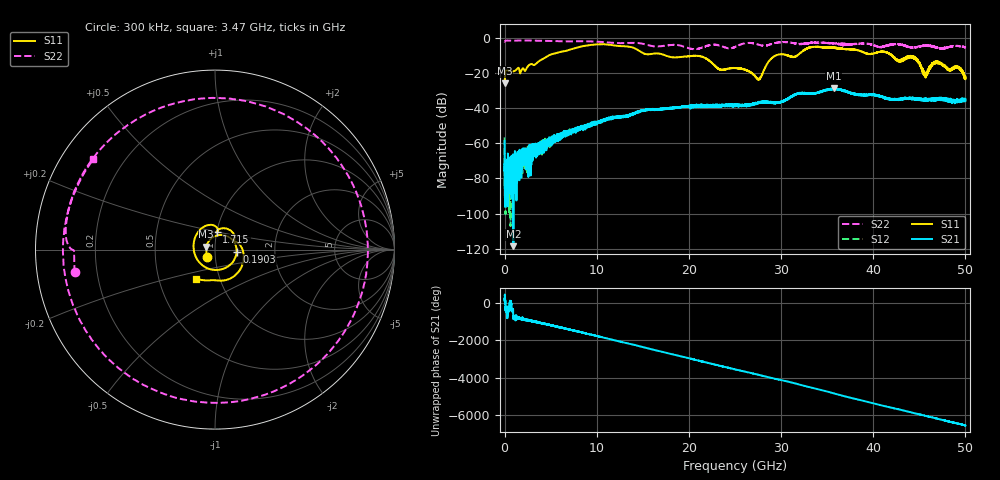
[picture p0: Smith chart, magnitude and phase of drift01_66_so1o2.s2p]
!Created with skrf (http://scikit-rf.org).
# Hz S RI R 50.0
!freq ReS11 ImS11 ReS21 ImS21 ReS12 ImS12 ReS22 ImS22
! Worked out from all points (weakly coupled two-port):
!   10001 points, 300 kHz to 50 GHz, reference 50 ohm
!   highest |S21| = -28.65 dB at 35.74 GHz (marker M1); lowest = -118.6 dB at 950.3 MHz (marker M2)
!   lowest |S11| = -25.8 dB at 5.3 MHz (marker M3), VSWR 1.11, Z = 45.3 + j1.43 ohm
!   |S11| at or under -10 dB: start of sweep to 4.767 GHz; 17.52 GHz to 29.39 GHz (11.87 GHz wide, 50.6 % of centre); 42.05 GHz to end of sweep (the widest 3 of 7)
!   |S22| runs from -6.4 to -1.4 dB; largest |S21 - S12| = 0.0042
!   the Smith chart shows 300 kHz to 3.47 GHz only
!   S11 on the Smith chart (normalised r, x): 300 kHz: 0.91, -0.07; 190.3 MHz: 1.27, -0.03; 1.715 GHz: 1.00, +0.20; 3.47 GHz: 0.77, -0.26
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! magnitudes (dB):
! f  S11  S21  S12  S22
! 300 kHz  -24.2  -58.7  -56.5  -2.0
! 5.3 MHz  -25.8  -76.0  -73.1  -2.1
! 190.3 MHz  -18.3  -80.0  -85.4  -1.4
! 950.3 MHz  -19.0  -118.6  -74.8  -1.5
! 1.715 GHz  -19.9  -69.4  -73.0  -1.4
! 3.47 GHz  -14.3  -64.2  -64.2  -1.5
! 8.335 GHz  -4.8  -51.1  -50.6  -1.8
! 16.67 GHz  -8.8  -40.6  -40.8  -4.8
! 21.2 GHz  -10.3  -38.6  -38.7  -5.8
! 23.38 GHz  -18.0  -38.4  -38.3  -4.3
! 25 GHz  -17.0  -38.5  -38.4  -5.0
! 27.59 GHz  -23.3  -37.1  -37.0  -3.8
! 29.3 GHz  -10.2  -36.8  -36.9  -2.9
! 31.47 GHz  -10.7  -32.3  -32.4  -2.9
! 33.34 GHz  -5.1  -31.7  -31.6  -2.7
! 35.74 GHz  -5.6  -28.7  -29.0  -3.1
! 41.67 GHz  -8.7  -34.5  -34.8  -4.1
! 42.8 GHz  -13.2  -34.7  -34.7  -3.5
! 44.42 GHz  -11.8  -34.6  -34.3  -5.4
! 45.63 GHz  -21.6  -34.7  -35.0  -4.3
! 46.96 GHz  -13.1  -34.7  -34.6  -5.6
! 50 GHz  -22.0  -35.7  -36.0  -5.3
